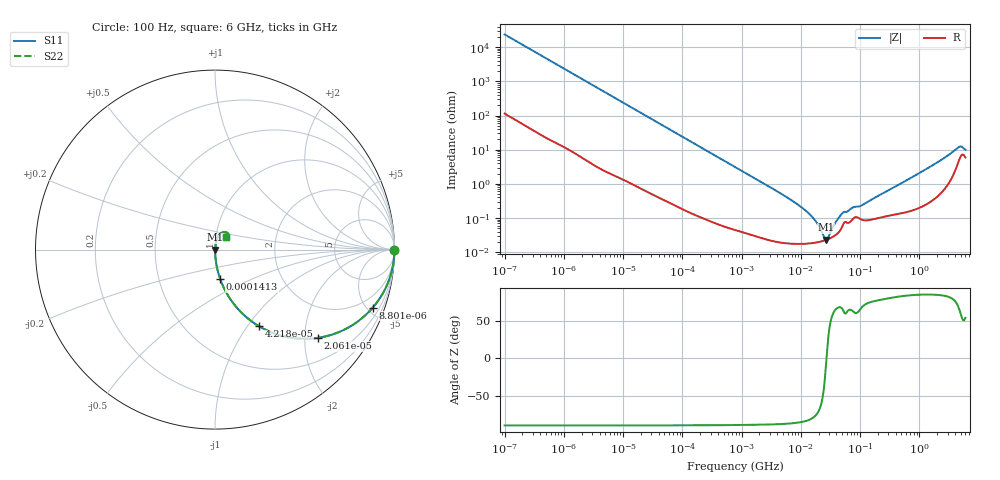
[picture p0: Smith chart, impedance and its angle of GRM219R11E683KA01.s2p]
!Murata Part Number: GRM219R11E683KA01
!These Parameters are Measured in Series Mode Connection
!Data Generated on Mar 30, 2021
!  o--ll--o
!Port1  Port2
!  o------o
!Operation Temp=25[degC], DC Bias Voltage=0[V]
!Freq. Start=100[Hz] Stop=6[GHz] 401[Steps]
# Hz S RI R 50
!Freq.(Hz) S11(Real) S11(Imag) S21(Real) S21(Imag) S12(Real) S12(Imag) S22(Real) S22(Imag)
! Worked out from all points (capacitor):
!   401 points, 100 Hz to 6 GHz, reference 50 ohm
!   read as one part in series: C = 67.5 nF near 109 Hz
!   lowest |Z| = 23.1 mohm at 26.62 MHz (marker M1)
!   series resonance near 27.13 MHz, so ESL is about 510 pH
!   S11 on the Smith chart (normalised r, x): 100 Hz: open; 8.801 kHz: 1.03, -5.43; 20.61 kHz: 1.01, -2.32; 42.18 kHz: 1.01, -1.14; 141.3 kHz: 1.00, -0.34; 6 GHz: 1.12, +0.16
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100  1 -0.00424  3.86e-05 0.00424  3.86e-05 0.00424  1 -0.00424
2008  0.9925 -0.0838  0.00749 0.0838  0.00749 0.0838  0.9925 -0.0838
8801  0.879 -0.3234  0.121 0.3234  0.121 0.3234  0.879 -0.3234
20606  0.5742 -0.4915  0.4258 0.4915  0.4258 0.4915  0.5742 -0.4915
40335  0.2631 -0.437  0.7369 0.437  0.7369 0.437  0.2631 -0.437
42182  0.2463 -0.4275  0.7537 0.4275  0.7537 0.4275  0.2463 -0.4275
72189  0.1018 -0.2988  0.8982 0.2988  0.8982 0.2988  0.1018 -0.2988
141303  0.0296 -0.1655  0.9704 0.1655  0.9704 0.1655  0.0296 -0.1655
774597  0.00143 -0.0313  0.9986 0.0313  0.9986 0.0313  0.00143 -0.0313
6644369  0.00019 -0.00349  0.9998 0.00349  0.9998 0.00349  0.00019 -0.00349
1.555665e7  0.000186 -0.00107  0.9998 0.00107  0.9998 0.00107  0.000186 -0.00107
2.662322e7  0.000228 -3.39e-05  0.9998 3.39e-05  0.9998 3.39e-05  0.000228 -3.39e-05
2.911731e7  0.000242 0.000131  0.9998 -0.000131  0.9998 -0.000131  0.000242 0.000131
3.80911e7  0.000313 0.000648  0.9997 -0.000648  0.9997 -0.000648  0.000313 0.000648
4.983056e7  0.000554 0.00125  0.9994 -0.00125  0.9994 -0.00125  0.000554 0.00125
7.455971e7  0.000919 0.00179  0.9991 -0.00179  0.9991 -0.00179  0.000919 0.00179
1.066761e8  0.000898 0.00216  0.9991 -0.00216  0.9991 -0.00216  0.000898 0.00216
3.124326e8  0.00121 0.00659  0.9988 -0.00659  0.9988 -0.00659  0.00121 0.00659
1.791126e9  0.00494 0.037  0.9951 -0.037  0.9951 -0.037  0.00494 0.037
4.385646e9  0.0442 0.097  0.9558 -0.097  0.9558 -0.097  0.0442 0.097
5.016141e9  0.0701 0.0927  0.9299 -0.0927  0.9299 -0.0927  0.0701 0.0927
6e9  0.061 0.071  0.939 -0.071  0.939 -0.071  0.061 0.071
